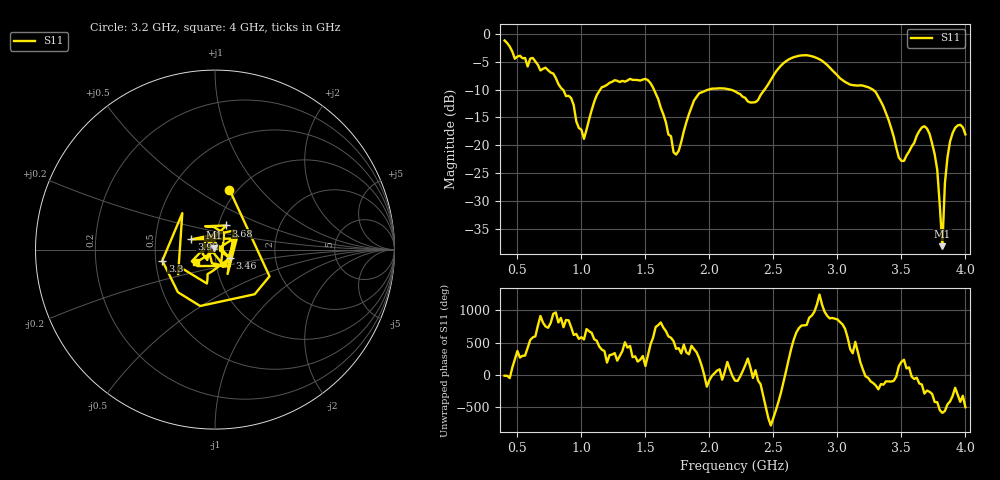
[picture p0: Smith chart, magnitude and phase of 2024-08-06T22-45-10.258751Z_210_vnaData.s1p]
!Created with skrf (http://scikit-rf.org).
# Hz S RI R 50.0
!freq ReS11 ImS11
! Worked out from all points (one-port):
!   181 points, 400 MHz to 4 GHz, reference 50 ohm
!   lowest |S11| = -38.2 dB at 3.82 GHz (marker M1), VSWR 1.03, Z = 49.3 + j0.991 ohm
!   |S11| at or under -10 dB: 855 MHz to 1.147 GHz (292 MHz wide, 29.2 % of centre); 1.567 GHz to 1.991 GHz (423.5 MHz wide, 23.8 % of centre); 3.277 GHz to end of sweep (the widest 3 of 4)
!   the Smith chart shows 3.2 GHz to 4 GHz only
!   S11 on the Smith chart (normalised r, x): 3.2 GHz: 0.92, +0.70; 3.3 GHz: 0.54, -0.07; 3.46 GHz: 1.17, -0.11; 3.68 GHz: 1.09, +0.30; 3.92 GHz: 0.76, +0.09; 4 GHz: 0.81, -0.12
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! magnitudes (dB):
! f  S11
! 400 MHz  -1.1
! 860 MHz  -10.1
! 920 MHz  -11.5
! 1.02 GHz  -18.9
! 1.14 GHz  -10.2
! 1.3 GHz  -8.6
! 1.54 GHz  -8.8
! 1.72 GHz  -21.3
! 1.76 GHz  -21.0
! 1.92 GHz  -10.7
! 2.2 GHz  -10.3
! 2.36 GHz  -12.3
! 2.66 GHz  -4.1
! 2.86 GHz  -4.5
! 3.1 GHz  -9.1
! 3.2 GHz  -9.3
! 3.3 GHz  -10.5
! 3.46 GHz  -20.5
! 3.5 GHz  -22.8
! 3.56 GHz  -21.1
! 3.68 GHz  -16.6
! 3.72 GHz  -17.9
! 3.78 GHz  -24.4
! 3.82 GHz  -38.2
! 3.84 GHz  -26.8
! 3.86 GHz  -22.2
! 3.92 GHz  -16.9
! 4 GHz  -18.0
